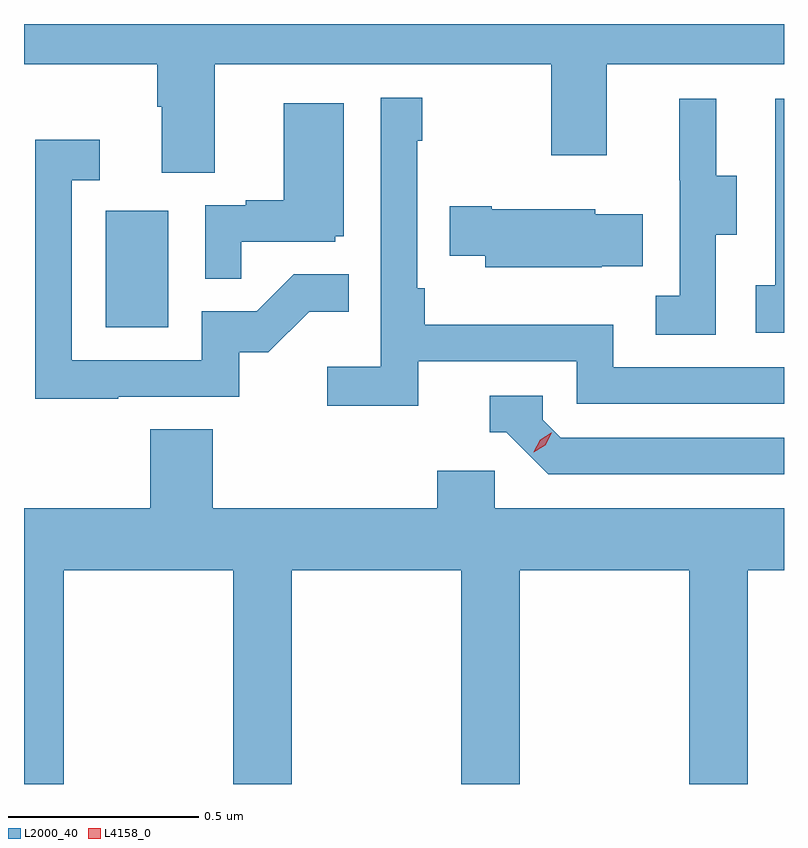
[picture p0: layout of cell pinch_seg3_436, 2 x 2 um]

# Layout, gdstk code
import gdstk
lib = gdstk.Library(unit=1e-6, precision=1e-09)
def R(c, l, rs):  # rectangles x0, y0, x1, y1
    for r in rs: c.add(gdstk.rectangle(r[:2], r[2:], *l))
def P(c, l, *ps):  # polygons
    for p in ps: c.add(gdstk.Polygon(p, *l))
L2000_40 = (2000, 40)
L4158_0 = (4158, 0)

pinch_seg3_436 = lib.new_cell('pinch_seg3_436')
R(pinch_seg3_436, L2000_40, [(897.92,704.22,898.084,704.527)])
P(pinch_seg3_436, L2000_40, [(898.207,704.912),(899.092,704.912),(899.092,704.673),(899.239,704.673),(899.239,704.912),(899.705,704.912),(899.705,705.018),(897.705,705.018),(897.705,704.912),(898.055,704.912),(898.055,704.8),(898.067,704.8),(898.067,704.626),(898.207,704.626)],
  [(898.742,704.13),(899.16,704.13),(899.16,704.019),(899.705,704.019),(899.705,704.115),(899.256,704.115),(899.256,704.227),(898.76,704.227),(898.76,704.323),(898.74,704.323),(898.74,704.711),(898.753,704.711),(898.753,704.824),(898.644,704.824),(898.644,704.116),(898.503,704.116),(898.503,704.014),(898.742,704.014)],
  [(899.526,704.464),(899.581,704.464),(899.581,704.619),(899.527,704.619),(899.527,704.821),(899.429,704.821),(899.429,704.607),(899.43,704.607),(899.43,704.303),(899.367,704.303),(899.367,704.2),(899.526,704.2)],
  [(899.705,704.821),(899.682,704.821),(899.682,704.33),(899.631,704.33),(899.631,704.205),(899.705,704.205)],
  [(898.277,704.445),(898.524,704.445),(898.524,704.46),(898.546,704.46),(898.546,704.809),(898.388,704.809),(898.388,704.554),(898.289,704.554),(898.289,704.541),(898.182,704.541),(898.182,704.347),(898.277,704.347)],
  [(897.953,704.037),(898.272,704.037),(898.272,704.154),(898.348,704.154),(898.455,704.261),(898.559,704.261),(898.559,704.36),(898.415,704.36),(898.317,704.262),(898.173,704.262),(898.173,704.133),(897.831,704.133),(897.831,704.607),(897.904,704.607),(897.904,704.713),(897.735,704.713),(897.735,704.032),(897.953,704.032)],
  [(899.225,704.381),(899.333,704.381),(899.333,704.518),(899.208,704.518),(899.208,704.53),(898.936,704.53),(898.936,704.538),(898.825,704.538),(898.825,704.408),(898.919,704.408),(898.919,704.378),(899.225,704.378)],
  [(899.705,703.929),(899.118,703.929),(899.07,703.977),(899.07,704.04),(898.931,704.04),(898.931,703.944),(898.974,703.944),(899.085,703.833),(899.705,703.833)],
  [(897.81,703.58),(898.255,703.58),(898.255,703.018),(898.41,703.018),(898.41,703.58),(898.855,703.58),(898.855,703.018),(899.01,703.018),(899.01,703.58),(899.455,703.58),(899.455,703.018),(899.61,703.018),(899.61,703.58),(899.705,703.58),(899.705,703.744),(898.944,703.744),(898.944,703.842),(898.793,703.842),(898.793,703.744),(898.202,703.744),(898.202,703.952),(898.037,703.952),(898.037,703.744),(897.705,703.744),(897.705,703.018),(897.81,703.018)])
P(pinch_seg3_436, L4158_0, [(899.047,703.891),(899.047,703.892),(899.063,703.924),(899.093,703.943),(899.094,703.943),(899.094,703.943),(899.077,703.91),(899.047,703.891)])

lib.write_gds('pinch_seg3_436.gds')
